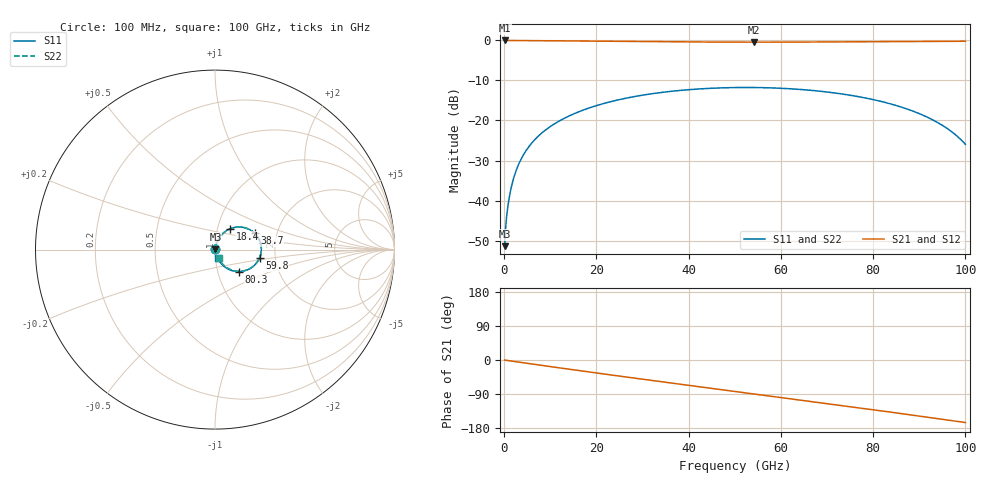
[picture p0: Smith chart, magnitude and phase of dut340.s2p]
! Touchstone file exported from HFSS 2026.1.0
!  File:  C:/ffzhzh/LocalFiles/Ansys_Project_Files/temp_train_RDL_340_1783503034_9504.aedt
!  Generated:  05:31:53 PM Jul  8, 2026
!  Design:  RDL
!  Project:  temp_train_RDL_340_1783503034_9504
! Variables:
!  h_bsmrdl = 2um
!  h_ox = 20um
!  h_rdl = 5um
!  h_sub = 80um
!  h_tmrdl = 3.31um
!  h_tsv = 80um
!  h_via = 3um
!  l_bsmrdl = 300um
!  l_sub = 967.44um
!  l_tmrdl = 567.44um
!  m_sub = 200um
!  pitch = 40.01um
!  r_tsv = 6um
!  s_tmrdl = 10um
!  w_bsmrdl = 18um
!  w_sub = 500um
!  w_tmrdl = 29.23um
!  x_tsv_center1 = 582.055um
!  x_tsv_center2 = 900.055um
!  x_tsv_center3 = 1496.725um
!  x_tsv_center4 = 1814.725um
!  x_tsv_center5 = 2411.395um
!  x_tsv_center6 = 2729.395um
# GHz S MA R 50.000000
! Terminal data exported
! Port[1] = TM_RDL1_1_T1
! Port[2] = TM_RDL1_1_T2
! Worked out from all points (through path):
!   1000 points, 100 MHz to 100 GHz, reference 50 ohm
!   highest |S21| = -0.02 dB at 100 MHz (marker M1); lowest = -0.4 dB at 54.2 GHz (marker M2)
!   group delay of S21, straight-line fit = 4.53 ps
!   lowest |S11| = -51.4 dB at 100 MHz (marker M3), VSWR 1.01, Z = 50.2 + j0.127 ohm
!   |S11| at or under -10 dB: start of sweep to end of sweep
!   |S22| runs from -51.4 to -11.8 dB; largest |S21 - S12| = 1.8e-14
!   S11 on the Smith chart (normalised r, x): 100 MHz: 1.00, +0.00; 18.4 GHz: 1.15, +0.27; 38.7 GHz: 1.53, +0.30; 59.8 GHz: 1.65, -0.16; 80.3 GHz: 1.26, -0.32; 100 GHz: 1.03, -0.10
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0.1  0.002698 27.8  0.9976 -0.2  0.9976 -0.2  0.002698 27.8
! Gamma 0 0 0 0
! Port Impedance 50 0 50 0
0.9  0.009214 66.2  0.9965 -1.6  0.9965 -1.6  0.009214 66.2
1.7  0.01594 73.2  0.9961 -3.0  0.9961 -3.0  0.01594 73.2
2.9  0.02627 75.5  0.9954 -5.1  0.9954 -5.1  0.02627 75.5
4.4  0.03908 74.9  0.9942 -7.7  0.9942 -7.7  0.03908 74.9
6.5  0.05649 72.3  0.9922 -11.4  0.9922 -11.4  0.05649 72.3
9.2  0.07787 68.4  0.9893 -16.0  0.9893 -16.0  0.07787 68.3
12.6  0.1033 63.1  0.9854 -21.8  0.9854 -21.8  0.1033 63.1
16.8  0.1326 56.6  0.9804 -28.9  0.9804 -28.9  0.1326 56.5
18.4  0.1431 54.1  0.9785 -31.6  0.9785 -31.6  0.1431 54.0
25.3  0.1839 43.3  0.9702 -43.0  0.9702 -43.0  0.1839 43.2
33.4  0.2212 30.6  0.9612 -56.2  0.9612 -56.2  0.2212 30.5
38.7  0.2389 22.4  0.9564 -64.8  0.9564 -64.8  0.2389 22.3
50.1  0.2577 4.7  0.9505 -83.0  0.9505 -83.0  0.2577 4.6
54.2  0.258 -1.7  0.95 -89.5  0.95 -89.5  0.258 -1.7
59.8  0.2527 -10.4  0.9509 -98.5  0.9509 -98.5  0.2527 -10.3
66.7  0.2374 -21.1  0.9539 -109.5  0.9539 -109.5  0.2375 -21.0
80.3  0.1807 -42.7  0.9639 -131.8  0.9639 -131.8  0.1808 -42.0
83.4  0.1633 -47.6  0.9663 -136.9  0.9663 -136.9  0.1635 -46.7
93.1  0.1005 -63.0  0.9727 -153.3  0.9727 -153.3  0.1009 -60.5
96.7  0.07476 -68.4  0.9742 -159.4  0.9742 -159.4  0.0753 -64.5
100  0.05045 -72.8  0.975 -165.0  0.975 -165.0  0.05131 -66.2
